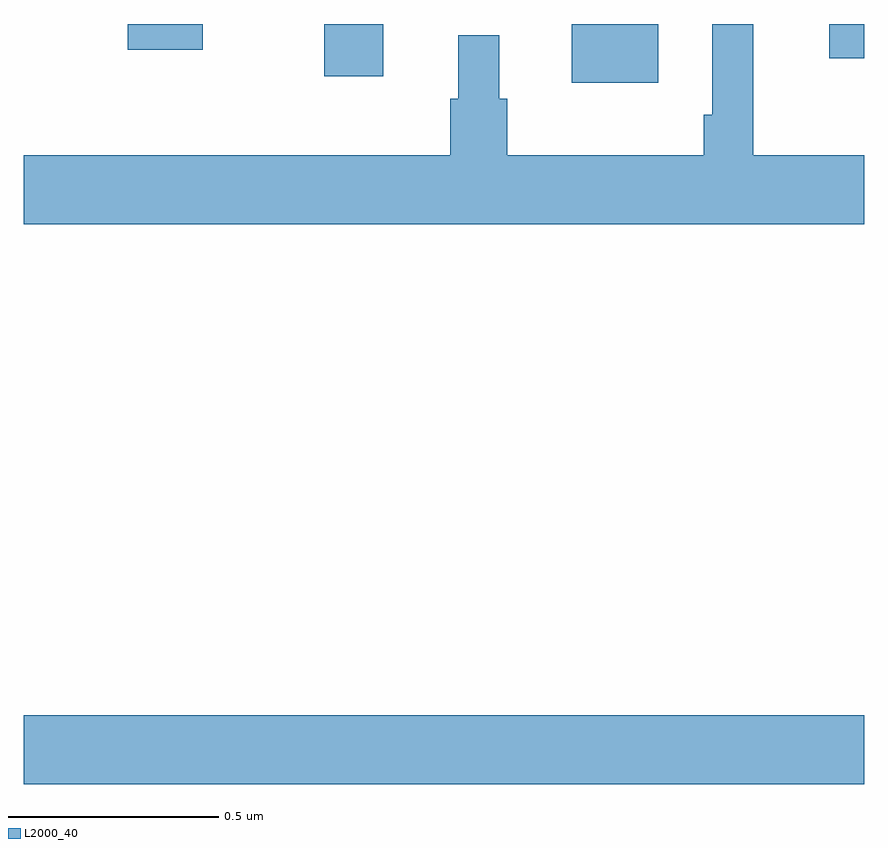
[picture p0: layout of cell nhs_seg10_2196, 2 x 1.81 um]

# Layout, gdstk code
import gdstk
lib = gdstk.Library(unit=1e-6, precision=1e-09)
def R(c, l, rs):  # rectangles x0, y0, x1, y1
    for r in rs: c.add(gdstk.rectangle(r[:2], r[2:], *l))
def P(c, l, *ps):  # polygons
    for p in ps: c.add(gdstk.Polygon(p, *l))
L2000_40 = (2000, 40)

nhs_seg10_2196 = lib.new_cell('nhs_seg10_2196')
R(nhs_seg10_2196, L2000_40, [(138,1257.692,140,1257.856), (139.304,1259.36,139.51,1259.5), (138.715,1259.376,138.856,1259.5), (139.916,1259.418,140,1259.5), (138.248,1259.439,138.426,1259.5)])
P(nhs_seg10_2196, L2000_40, [(140,1259.188),(139.736,1259.188),(139.736,1259.5),(139.638,1259.5),(139.638,1259.284),(139.618,1259.284),(139.618,1259.188),(139.151,1259.188),(139.151,1259.322),(139.132,1259.322),(139.132,1259.473),(139.034,1259.473),(139.034,1259.322),(139.015,1259.322),(139.015,1259.188),(138,1259.188),(138,1259.024),(140,1259.024)])

lib.write_gds('nhs_seg10_2196.gds')
